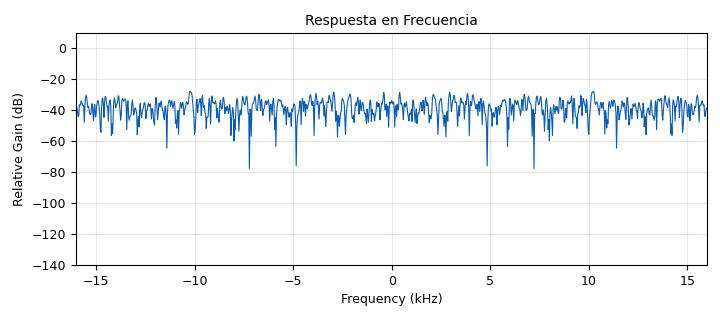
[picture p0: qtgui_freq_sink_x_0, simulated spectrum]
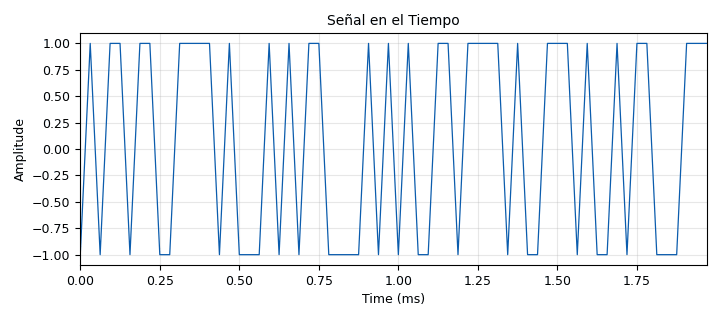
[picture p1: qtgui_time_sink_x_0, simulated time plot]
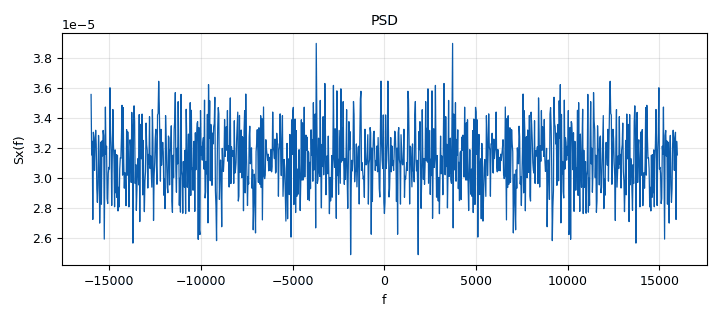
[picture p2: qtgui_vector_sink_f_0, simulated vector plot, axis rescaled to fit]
options:
  parameters:
    generate_options: qt_gui
    id: SegundoLAB
    output_language: python
    title: SegundoLAB
  states: {}

blocks:
- name: N
  id: variable
  parameters:
    value: '1024'
  states: {}
- name: Rb
  id: variable
  parameters:
    value: '32000'
  states: {}
- name: Sps
  id: variable
  parameters:
    value: '1'
  states: {}
- name: h
  id: variable
  parameters:
    value: 'np.ones((Sps,), dtype = int) '
  states: {}
- name: samp_rate
  id: variable
  parameters:
    value: Sps*Rb
  states: {}
- name: Menu
  id: qtgui_tab_widget
  parameters:
    label0: Time & Freq
    label1: Freq
    num_tabs: '2'
  states: {}
- name: analog_const_source_x_0
  id: analog_const_source_x
  parameters:
    const: '-0.5'
    type: float
  states: {}
- name: analog_noise_source_x_0
  id: analog_noise_source_x
  parameters:
    amp: '1'
    noise_type: analog.GR_GAUSSIAN
    seed: '76'
    type: float
  states: {}
- name: analog_random_source_x_0
  id: analog_random_source_x
  parameters:
    max: '2'
    min: '0'
    num_samps: '1000000'
    repeat: 'True'
    type: byte
  states: {}
- name: blocks_add_xx_0
  id: blocks_add_xx
  parameters:
    type: float
  states: {}
- name: blocks_char_to_float_0
  id: blocks_char_to_float
  parameters:
    scale: '1'
  states: {}
- name: blocks_complex_to_mag_squared_0
  id: blocks_complex_to_mag_squared
  parameters:
    vlen: '1024'
  states: {}
- name: blocks_file_source_0
  id: blocks_file_source
  parameters:
    file: /home/labcom/InmigranteComu2/rebelion_joearroyo.wav
    repeat: 'True'
    type: byte
  states: {state: disabled}
- name: blocks_multiply_const_vxx_0
  id: blocks_multiply_const_vxx
  parameters:
    const: '2'
    type: float
  states: {}
- name: blocks_multiply_const_vxx_0_0
  id: blocks_multiply_const_vxx
  parameters:
    const: '[1/(N*samp_rate)]*N'
    type: float
    vlen: '1024'
  states: {}
- name: blocks_null_sink_0
  id: blocks_null_sink
  parameters:
    type: float
  states: {}
- name: blocks_stream_to_vector_0
  id: blocks_stream_to_vector
  parameters:
    num_items: '1024'
    type: float
  states: {}
- name: blocks_throttle_0
  id: blocks_throttle
  parameters:
    samples_per_second: samp_rate
    type: float
  states: {}
- name: blocks_unpack_k_bits_bb_0
  id: blocks_unpack_k_bits_bb
  parameters:
    k: '8'
  states: {state: disabled}
- name: epy_block_0
  id: epy_block
  parameters:
    N: N
    _source_code: |
      """
      Embedded Python Blocks:

      Each time this file is saved, GRC will instantiate the first class it finds
      to get ports and parameters of your block. The arguments to __init__  will
      be the parameters. All of them are required to have default values!
      """

      import numpy as np
      from gnuradio import gr


      class blk(gr.sync_block):  
          def __init__(self, N=1024): 
              gr.sync_block.__init__(
                  self,
                  name='e_vec_averager_ff', 
                  in_sig=[(np.float32,N)],
                  out_sig=[(np.float32,N)]
              )
              self.N = N
              self.rows_counter=0
              self.sum=0

          def work(self, input_items, output_items):
              x = input_items[0]
              y = output_items[0]
              self.sum += np.sum(x, axis=0)
              self.rows_counter += len(x)
              y[:]=self.sum/self.rows_counter
              return len(output_items[0])
  states: {}
- name: fft_vxx_1
  id: fft_vxx
  parameters:
    fft_size: '1024'
    forward: 'True'
    shift: 'True'
    type: float
    window: '[1]*N'
  states: {}
- name: import_0
  id: import
  parameters:
    imports: import numpy as np
  states: {}
- name: interp_fir_filter_xxx_0
  id: interp_fir_filter_xxx
  parameters:
    interp: Sps
    taps: h
    type: fff
  states: {}
- name: note_0
  id: note
  parameters:
    note: INSTRUMENTOS
  states: {}
- name: qtgui_freq_sink_x_0
  id: qtgui_freq_sink_x
  parameters:
    bw: samp_rate
    fc: '0'
    fftsize: '1024'
    name: '"Respuesta en Frecuencia"'
    type: float
  states: {}
- name: qtgui_time_sink_x_0
  id: qtgui_time_sink_x
  parameters:
    autoscale: 'True'
    name: '"Señal en el Tiempo"'
    size: '64'
    srate: samp_rate
    type: float
  states: {}
- name: qtgui_vector_sink_f_0
  id: qtgui_vector_sink_f
  parameters:
    name: '"PSD"'
    vlen: N
    x_axis_label: '"f"'
    x_start: '-samp_rate/2'
    x_step: samp_rate/N
    x_units: '"Hz"'
    y_axis_label: '"Sx(f)"'
    y_units: '"Watt/Hz"'
    ymax: 1/Rb
    ymin: '0'
  states: {}
- name: virtual_sink_0
  id: virtual_sink
  parameters:
    stream_id: p4
  states: {}
- name: virtual_sink_0_0
  id: virtual_sink
  parameters:
    stream_id: p5
  states: {}
- name: virtual_sink_0_1
  id: virtual_sink
  parameters:
    stream_id: p3
  states: {}
- name: virtual_source_1
  id: virtual_source
  parameters:
    stream_id: p5
  states: {}
- name: virtual_source_2
  id: virtual_source
  parameters:
    stream_id: p4
  states: {}

connections:
- [analog_const_source_x_0, '0', blocks_add_xx_0, '0']
- [analog_noise_source_x_0, '0', virtual_sink_0_0, '0']
- [analog_random_source_x_0, '0', blocks_char_to_float_0, '0']
- [blocks_add_xx_0, '0', blocks_multiply_const_vxx_0, '0']
- [blocks_char_to_float_0, '0', blocks_add_xx_0, '1']
- [blocks_char_to_float_0, '0', virtual_sink_0_1, '0']
- [blocks_complex_to_mag_squared_0, '0', epy_block_0, '0']
- [blocks_file_source_0, '0', blocks_unpack_k_bits_bb_0, '0']
- [blocks_multiply_const_vxx_0, '0', interp_fir_filter_xxx_0, '0']
- [blocks_multiply_const_vxx_0_0, '0', qtgui_vector_sink_f_0, '0']
- [blocks_stream_to_vector_0, '0', fft_vxx_1, '0']
- [blocks_throttle_0, '0', virtual_sink_0, '0']
- [blocks_unpack_k_bits_bb_0, '0', blocks_char_to_float_0, '0']
- [epy_block_0, '0', blocks_multiply_const_vxx_0_0, '0']
- [fft_vxx_1, '0', blocks_complex_to_mag_squared_0, '0']
- [interp_fir_filter_xxx_0, '0', blocks_throttle_0, '0']
- [virtual_source_1, '0', blocks_null_sink_0, '0']
- [virtual_source_2, '0', blocks_stream_to_vector_0, '0']
- [virtual_source_2, '0', qtgui_freq_sink_x_0, '0']
- [virtual_source_2, '0', qtgui_time_sink_x_0, '0']

metadata:
  file_format: 1
